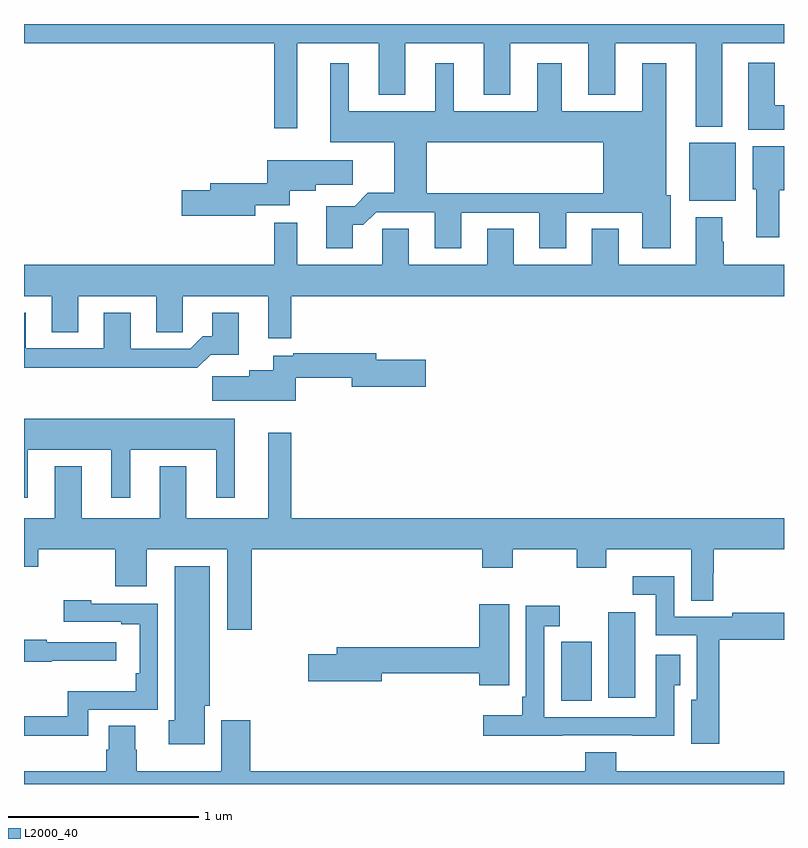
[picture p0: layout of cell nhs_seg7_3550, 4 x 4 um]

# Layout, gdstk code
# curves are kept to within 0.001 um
import gdstk
lib = gdstk.Library(unit=1e-6, precision=1e-09)
def R(c, l, rs):  # rectangles x0, y0, x1, y1
    for r in rs: c.add(gdstk.rectangle(r[:2], r[2:], *l))
def P(c, l, *ps):  # polygons
    for p in ps: c.add(gdstk.Polygon(p, *l))
L2000_40 = (2000, 40)

nhs_seg7_3550 = lib.new_cell('nhs_seg7_3550')
R(nhs_seg7_3550, L2000_40, [(339.827,1046.437,339.988,1046.748), (340.076,1046.454,340.216,1046.905), (340.502,1049.069,340.747,1049.374)])
P(nhs_seg7_3550, L2000_40, [(338.437,1049.9),(338.867,1049.9),(338.867,1049.627),(339.007,1049.627),(339.007,1049.9),(339.419,1049.9),(339.419,1049.627),(339.559,1049.627),(339.559,1049.9),(339.971,1049.9),(339.971,1049.627),(340.111,1049.627),(340.111,1049.9),(340.535,1049.9),(340.535,1049.459),(340.675,1049.459),(340.675,1049.9),(341,1049.9),(341,1050),(337,1050),(337,1049.9),(338.316,1049.9),(338.316,1049.451),(338.437,1049.451)],
  [(341,1049.572),(340.951,1049.572),(340.951,1049.797),(340.811,1049.797),(340.811,1049.444),(341,1049.444)],
  [(338.591,1049.041),(338.591,1048.821),(338.731,1048.821),(338.731,1048.943),(338.786,1048.943),(338.853,1049.01),(339.161,1049.01),(339.161,1048.821),(339.301,1048.821),(339.301,1049.007),(339.713,1049.007),(339.713,1048.821),(339.853,1048.821),(339.853,1049.007),(340.253,1049.007),(340.253,1048.821),(340.405,1048.821),(340.405,1049.1),(340.381,1049.1),(340.381,1049.794),(340.253,1049.794),(340.253,1049.542),(339.829,1049.542),(339.829,1049.794),(339.701,1049.794),(339.701,1049.542),(339.262,1049.542),(339.262,1049.794),(339.164,1049.794),(339.164,1049.542),(338.71,1049.542),(338.71,1049.794),(338.612,1049.794),(338.612,1049.378),(338.948,1049.378),(338.948,1049.111),(338.81,1049.111),(338.807,1049.108),(339.119,1049.108),(339.119,1049.378),(340.049,1049.378),(340.049,1049.108),(338.807,1049.108),(338.74,1049.041)],
  [(340.975,1049.126),(341,1049.126),(341,1049.356),(340.835,1049.356),(340.835,1049.13),(340.853,1049.13),(340.853,1048.878),(340.975,1048.878)],
  [(338.218,1049.046),(338.399,1049.046),(338.399,1049.123),(338.536,1049.123),(338.536,1049.155),(338.731,1049.155),(338.731,1049.284),(338.281,1049.284),(338.281,1049.162),(337.979,1049.162),(337.979,1049.126),(337.83,1049.126),(337.83,1048.991),(338.218,1048.991)],
  [(338.406,1048.568),(341,1048.568),(341,1048.732),(340.683,1048.732),(340.683,1048.853),(340.675,1048.853),(340.675,1048.984),(340.535,1048.984),(340.535,1048.732),(340.129,1048.732),(340.129,1048.922),(339.989,1048.922),(339.989,1048.732),(339.577,1048.732),(339.577,1048.922),(339.437,1048.922),(339.437,1048.732),(339.025,1048.732),(339.025,1048.922),(338.886,1048.922),(338.886,1048.732),(338.437,1048.732),(338.437,1048.954),(338.316,1048.954),(338.316,1048.732),(337,1048.732),(337,1048.568),(337.145,1048.568),(337.145,1048.378),(337.285,1048.378),(337.285,1048.568),(337.697,1048.568),(337.697,1048.378),(337.836,1048.378),(337.836,1048.568),(338.285,1048.568),(338.285,1048.347),(338.406,1048.347)],
  [(337.982,1048.259),(338.131,1048.259),(338.131,1048.48),(337.991,1048.48),(337.991,1048.357),(337.942,1048.357),(337.875,1048.29),(337.561,1048.29),(337.561,1048.48),(337.421,1048.48),(337.421,1048.293),(337.009,1048.293),(337.009,1048.48),(337,1048.48),(337,1048.192),(337.657,1048.192),(337.657,1048.19),(337.913,1048.19)],
  [(338.43,1048.138),(338.726,1048.138),(338.726,1048.091),(339.115,1048.091),(339.115,1048.233),(338.854,1048.233),(338.854,1048.267),(338.518,1048.267),(338.518,1048.266),(338.416,1048.266),(338.416,1048.254),(338.312,1048.254),(338.312,1048.177),(338.186,1048.177),(338.186,1048.145),(337.992,1048.145),(337.992,1048.016),(338.43,1048.016)],
  [(337.021,1047.758),(337.46,1047.758),(337.46,1047.507),(337.558,1047.507),(337.558,1047.758),(338.012,1047.758),(338.012,1047.507),(338.11,1047.507),(338.11,1047.922),(337,1047.922),(337,1047.507),(337.021,1047.507)],
  [(338.198,1047.236),(339.413,1047.236),(339.413,1047.137),(339.573,1047.137),(339.573,1047.236),(339.91,1047.236),(339.91,1047.137),(340.065,1047.137),(340.065,1047.236),(340.511,1047.236),(340.511,1046.965),(340.628,1046.965),(340.628,1047.108),(340.63,1047.108),(340.63,1047.236),(341,1047.236),(341,1047.4),(338.407,1047.4),(338.407,1047.85),(338.285,1047.85),(338.285,1047.4),(337.855,1047.4),(337.855,1047.673),(337.715,1047.673),(337.715,1047.4),(337.303,1047.4),(337.303,1047.673),(337.163,1047.673),(337.163,1047.4),(337,1047.4),(337,1047.143),(337.075,1047.143),(337.075,1047.236),(337.481,1047.236),(337.481,1047.042),(337.645,1047.042),(337.645,1047.236),(338.069,1047.236),(338.069,1046.811),(338.198,1046.811)],
  [(337.951,1046.412),(337.978,1046.412),(337.978,1047.145),(337.793,1047.145),(337.793,1046.336),(337.763,1046.336),(337.763,1046.21),(337.951,1046.21)],
  [(340.66,1046.759),(341,1046.759),(341,1046.901),(340.728,1046.901),(340.728,1046.88),(340.422,1046.88),(340.422,1047.094),(340.203,1047.094),(340.203,1046.997),(340.326,1046.997),(340.326,1046.784),(340.541,1046.784),(340.541,1046.443),(340.511,1046.443),(340.511,1046.211),(340.66,1046.211)],
  [(337.338,1046.391),(337.704,1046.391),(337.704,1046.949),(337.353,1046.949),(337.353,1046.968),(337.209,1046.968),(337.209,1046.853),(337.511,1046.853),(337.511,1046.841),(337.608,1046.841),(337.608,1046.584),(337.588,1046.584),(337.588,1046.488),(337.23,1046.488),(337.23,1046.357),(337,1046.357),(337,1046.255),(337.338,1046.255)],
  [(339.553,1046.947),(339.395,1046.947),(339.395,1046.72),(338.645,1046.72),(338.645,1046.684),(338.496,1046.684),(338.496,1046.542),(338.884,1046.542),(338.884,1046.584),(339.395,1046.584),(339.395,1046.52),(339.553,1046.52)],
  [(339.835,1046.256),(340.201,1046.256),(340.201,1046.255),(340.422,1046.255),(340.422,1046.521),(340.453,1046.521),(340.453,1046.68),(340.326,1046.68),(340.326,1046.352),(339.738,1046.352),(339.738,1046.829),(339.82,1046.829),(339.82,1046.938),(339.642,1046.938),(339.642,1046.458),(339.622,1046.458),(339.622,1046.362),(339.417,1046.362),(339.417,1046.255),(339.835,1046.255)],
  [(337.145,1046.648),(337.486,1046.648),(337.486,1046.745),(337.121,1046.745),(337.121,1046.758),(337,1046.758),(337,1046.644),(337.145,1046.644)],
  [(341,1046.068),(340.118,1046.068),(340.118,1046.167),(339.953,1046.167),(339.953,1046.068),(338.192,1046.068),(338.192,1046.335),(338.039,1046.335),(338.039,1046.068),(337.593,1046.068),(337.593,1046.181),(337.585,1046.181),(337.585,1046.306),(337.445,1046.306),(337.445,1046.181),(337.433,1046.181),(337.433,1046.068),(337,1046.068),(337,1046),(341,1046)])

lib.write_gds('nhs_seg7_3550.gds')
